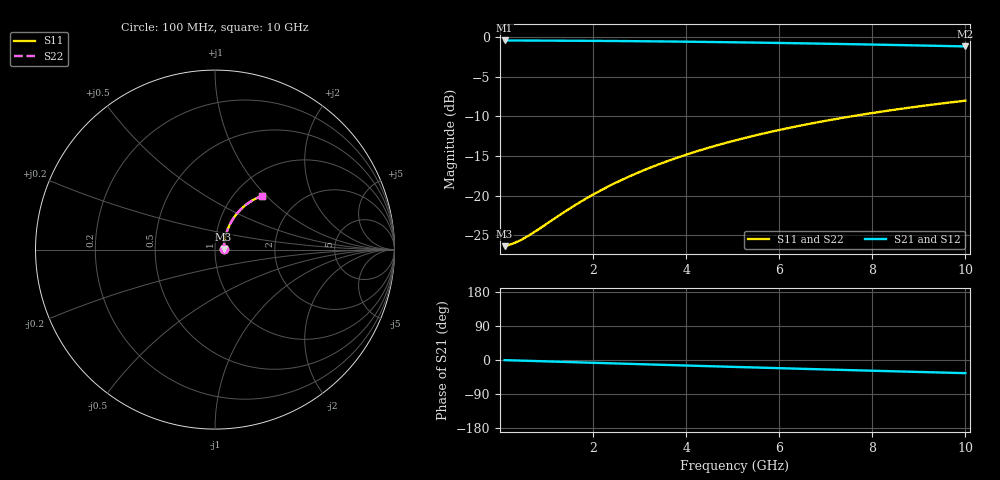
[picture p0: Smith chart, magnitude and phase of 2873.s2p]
# Hz S RI R 50.00
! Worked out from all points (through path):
!   100 points, 100 MHz to 10 GHz, reference 50 ohm
!   highest |S21| = -0.43 dB at 100 MHz (marker M1); lowest = -1.2 dB at 10 GHz (marker M2)
!   group delay of S21, straight-line fit = 9.67 ps
!   lowest |S11| = -26.4 dB at 100 MHz (marker M3), VSWR 1.10, Z = 55 + j0.458 ohm
!   |S11| at or under -10 dB: start of sweep to 7.551 GHz
!   |S22| runs from -26.4 to -8.0 dB; largest |S21 - S12| = 0
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1e8  0.0478 0.00415  0.9522 -0.00612  0.9522 -0.00612  0.0478 0.00415
2e8  0.0482 0.0083  0.9518 -0.0122  0.9518 -0.0122  0.0482 0.0083
3e8  0.0485 0.0124  0.9514 -0.0183  0.9514 -0.0183  0.0485 0.0124
4e8  0.0489 0.0166  0.9511 -0.0244  0.9511 -0.0244  0.0489 0.0166
6e8  0.0497 0.0248  0.9502 -0.0366  0.9502 -0.0366  0.0497 0.0248
8e8  0.0507 0.0331  0.9492 -0.0488  0.9492 -0.0488  0.0507 0.0331
1.4e9  0.0547 0.0575  0.9449 -0.085  0.9449 -0.085  0.0547 0.0575
1.8e9  0.0583 0.0736  0.941 -0.1089  0.941 -0.1089  0.0583 0.0736
2.2e9  0.0627 0.0894  0.9363 -0.1326  0.9363 -0.1326  0.0627 0.0894
2.6e9  0.0679 0.1049  0.9307 -0.156  0.9307 -0.156  0.0679 0.1049
3e9  0.0738 0.1201  0.9244 -0.1791  0.9244 -0.1791  0.0738 0.1201
3.4e9  0.0804 0.1349  0.9173 -0.2017  0.9173 -0.2017  0.0804 0.1349
3.8e9  0.0877 0.1492  0.9094 -0.224  0.9094 -0.224  0.0877 0.1492
4.2e9  0.0957 0.1632  0.9008 -0.2458  0.9008 -0.2458  0.0957 0.1632
4.6e9  0.1043 0.1766  0.8915 -0.2671  0.8915 -0.2671  0.1043 0.1766
5.1e9  0.1159 0.1926  0.8789 -0.293  0.8789 -0.293  0.1159 0.1926
5.9e9  0.1361 0.2164  0.8569 -0.3327  0.8569 -0.3327  0.1361 0.2164
6.7e9  0.1582 0.2377  0.8328 -0.3699  0.8328 -0.3699  0.1582 0.2377
7.5e9  0.1818 0.2566  0.8069 -0.4047  0.8069 -0.4047  0.1818 0.2566
8.4e9  0.2097 0.2746  0.776 -0.4408  0.776 -0.4408  0.2097 0.2746
9.2e9  0.2354 0.2879  0.7474 -0.4702  0.7474 -0.4702  0.2354 0.2879
1e10  0.2617 0.2987  0.7179 -0.497  0.7179 -0.497  0.2617 0.2987
